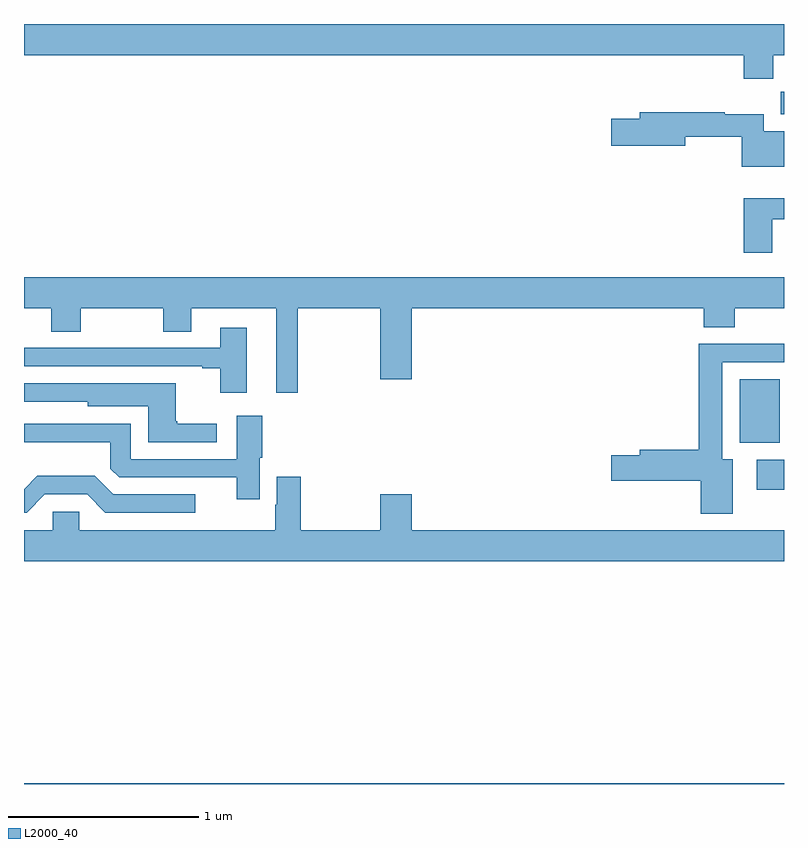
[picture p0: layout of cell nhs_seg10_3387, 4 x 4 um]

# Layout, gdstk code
import gdstk
lib = gdstk.Library(unit=1e-6, precision=1e-09)
def R(c, l, rs):  # rectangles x0, y0, x1, y1
    for r in rs: c.add(gdstk.rectangle(r[:2], r[2:], *l))
def P(c, l, *ps):  # polygons
    for p in ps: c.add(gdstk.Polygon(p, *l))
L2000_40 = (2000, 40)

nhs_seg10_3387 = lib.new_cell('nhs_seg10_3387')
R(nhs_seg10_3387, L2000_40, [(295,1276.5,299,1276.504), (298.857,1278.048,299,1278.207), (298.766,1278.296,298.978,1278.631), (298.984,1280.024,299,1280.143)])
P(nhs_seg10_3387, L2000_40, [(295,1280.336),(298.787,1280.336),(298.787,1280.212),(298.943,1280.212),(298.943,1280.336),(299,1280.336),(299,1280.5),(295,1280.5)],
  [(299,1279.936),(298.894,1279.936),(298.894,1280.024),(298.688,1280.024),(298.688,1280.035),(298.241,1280.035),(298.241,1280.001),(298.092,1280.001),(298.092,1279.859),(298.48,1279.859),(298.48,1279.906),(298.777,1279.906),(298.777,1279.748),(299,1279.748)],
  [(298.939,1279.473),(299,1279.473),(299,1279.582),(298.787,1279.582),(298.787,1279.296),(298.939,1279.296)],
  [(295,1279.004),(295.144,1279.004),(295.144,1278.88),(295.299,1278.88),(295.299,1279.004),(295.732,1279.004),(295.732,1278.88),(295.879,1278.88),(295.879,1279.004),(296.327,1279.004),(296.327,1278.558),(296.441,1278.558),(296.441,1279.004),(296.876,1279.004),(296.876,1278.63),(297.04,1278.63),(297.04,1279.004),(298.577,1279.004),(298.577,1278.905),(298.742,1278.905),(298.742,1279.004),(299,1279.004),(299,1279.168),(295,1279.168)],
  [(296.173,1278.901),(296.033,1278.901),(296.033,1278.795),(295.643,1278.795),(295.643,1278.797),(295.387,1278.797),(295.387,1278.795),(295.055,1278.795),(295.055,1278.797),(295,1278.797),(295,1278.699),(295.937,1278.699),(295.937,1278.687),(296.033,1278.687),(296.033,1278.558),(296.173,1278.558)],
  [(298.729,1278.208),(298.675,1278.208),(298.675,1278.72),(299,1278.72),(299,1278.818),(298.55,1278.818),(298.55,1278.26),(298.241,1278.26),(298.241,1278.23),(298.092,1278.23),(298.092,1278.095),(298.562,1278.095),(298.562,1277.922),(298.729,1277.922)],
  [(296.014,1278.397),(295.806,1278.397),(295.806,1278.409),(295.798,1278.409),(295.798,1278.61),(295.435,1278.61),(295.435,1278.609),(295,1278.609),(295,1278.513),(295.335,1278.513),(295.335,1278.488),(295.655,1278.488),(295.655,1278.3),(296.014,1278.3)],
  [(296.242,1278.217),(296.255,1278.217),(296.255,1278.439),(296.12,1278.439),(296.12,1278.21),(295.563,1278.21),(295.563,1278.396),(295,1278.396),(295,1278.299),(295.455,1278.299),(295.455,1278.159),(295.5,1278.114),(296.12,1278.114),(296.12,1278),(296.242,1278)],
  [(295.11,1278.024),(295.332,1278.024),(295.428,1277.928),(295.9,1277.928),(295.9,1278.024),(295.47,1278.024),(295.373,1278.122),(295.07,1278.122),(295,1278.052),(295,1277.928),(295.014,1277.928)],
  [(299,1277.836),(297.04,1277.836),(297.04,1278.025),(296.876,1278.025),(296.876,1277.836),(296.457,1277.836),(296.457,1278.118),(296.33,1278.118),(296.33,1277.969),(296.323,1277.969),(296.323,1277.836),(295.29,1277.836),(295.29,1277.934),(295.152,1277.934),(295.152,1277.836),(295,1277.836),(295,1277.672),(299,1277.672)])

lib.write_gds('nhs_seg10_3387.gds')
